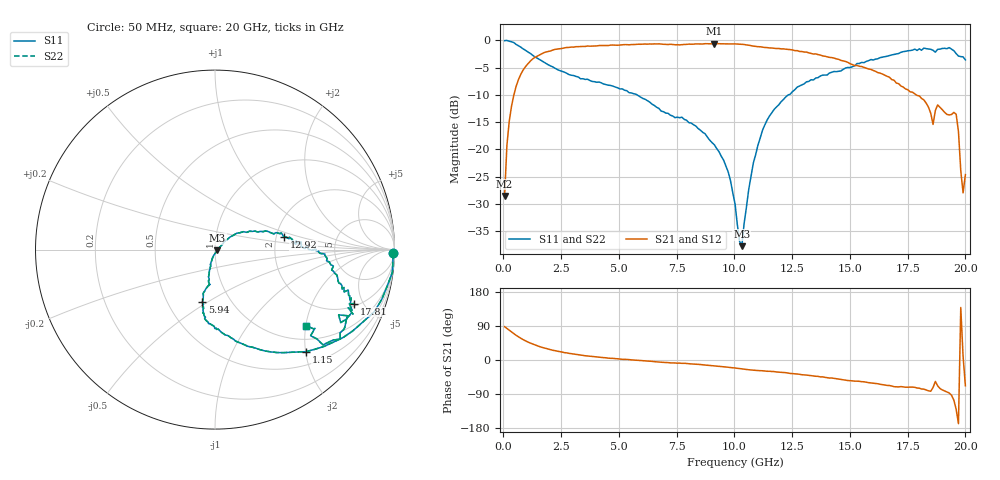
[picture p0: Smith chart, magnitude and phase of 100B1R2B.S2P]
!  American Technical Ceramics  Date:  3/13/98
!  One Norden Lane
!  Huntington Station,  NY.  11746-2102
!  Tel:  (516) 547-5700  Fax:  (516) 547-5748
!  Part Number  100b1r2b
!  Description: Porcelain, High Q, Low ESR
!  Application: Bypass, Coupling, Timing, Feedback
!  Tuning, Impedance Match, Blocking
# GHZ S DB R 50
! Freq  |S11|  S11 Ph  |S21|  S21 Ph  |S12|  S12 Ph  |S22|  S22 Ph
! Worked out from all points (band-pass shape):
!   201 points, 50 MHz to 20 GHz, reference 50 ohm
!   highest |S21| = -0.60 dB at 9.13 GHz (marker M1); lowest = -28.5 dB at 50 MHz (marker M2)
!   |S21| within 3 dB of the highest: 1.217 GHz to 14.57 GHz (13.35 GHz wide, 169 % of centre)
!   lowest |S11| = -37.7 dB at 10.32 GHz (marker M3), VSWR 1.03, Z = 51.2 - j0.434 ohm
!   |S11| at or under -10 dB: 5.784 GHz to 12.34 GHz (6.554 GHz wide, 72.3 % of centre)
!   |S22| runs from -37.7 to 0.0 dB; largest |S21 - S12| = 0
!   S11 on the Smith chart (normalised r, x): 50 MHz: 26, -83; 1.15 GHz: 0.74, -2.00; 5.94 GHz: 0.74, -0.48; 12.92 GHz: 2.20, +0.37; 17.81 GHz: 2.20, -4.24; 20 GHz: 1.34, -2.01
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0.05  -0.06 -1.2  -28.52 87.8  -28.52 87.8  -0.06 -1.2
0.15  -0.03 -7.3  -19.22 83.3  -19.22 83.3  -0.03 -7.3
0.35  -0.27 -16.7  -12.05 74.2  -12.05 74.2  -0.27 -16.7
1.15  -2.37 -48.3  -3.88 45.0  -3.88 45.0  -2.37 -48.3
3.44  -7.04 -88.9  -1.12 12.3  -1.12 12.3  -7.04 -88.9
5.94  -10.42 -103.4  -0.73 -1.4  -0.73 -1.4  -10.42 -103.4
6.73  -12.48 -104.0  -0.65 -5.5  -0.65 -5.5  -12.48 -104.0
9.13  -19.14 -104.1  -0.60 -15.5  -0.60 -15.5  -19.14 -104.1
9.73  -24.12 -106.5  -0.67 -19.1  -0.67 -19.1  -24.12 -106.5
10.03  -30.06 -101.8  -0.66 -21.1  -0.66 -21.1  -30.06 -101.8
10.32  -37.72 -19.0  -0.74 -23.5  -0.74 -23.5  -37.72 -19.0
10.82  -22.47 41.0  -1.07 -26.9  -1.07 -26.9  -22.47 41.0
11.22  -16.43 37.1  -1.26 -28.4  -1.26 -28.4  -16.43 37.1
12.92  -8.18 10.4  -2.06 -38.8  -2.06 -38.8  -8.18 10.4
13.42  -7.26 6.8  -2.52 -42.2  -2.52 -42.2  -7.26 6.8
16.71  -2.80 -15.2  -6.76 -67.4  -6.76 -67.4  -2.80 -15.2
17.81  -1.62 -21.2  -9.81 -72.2  -9.81 -72.2  -1.62 -21.2
18.6  -1.83 -30.1  -15.41 -72.4  -15.41 -72.4  -1.83 -30.1
18.8  -1.66 -26.5  -11.84 -68.2  -11.84 -68.2  -1.66 -26.5
19.6  -2.44 -41.2  -13.55 -130.2  -13.55 -130.2  -2.44 -41.2
19.9  -3.03 -38.8  -27.95 9.7  -27.95 9.7  -3.03 -38.8
20  -3.59 -39.8  -24.62 -68.1  -24.62 -68.1  -3.59 -39.8
